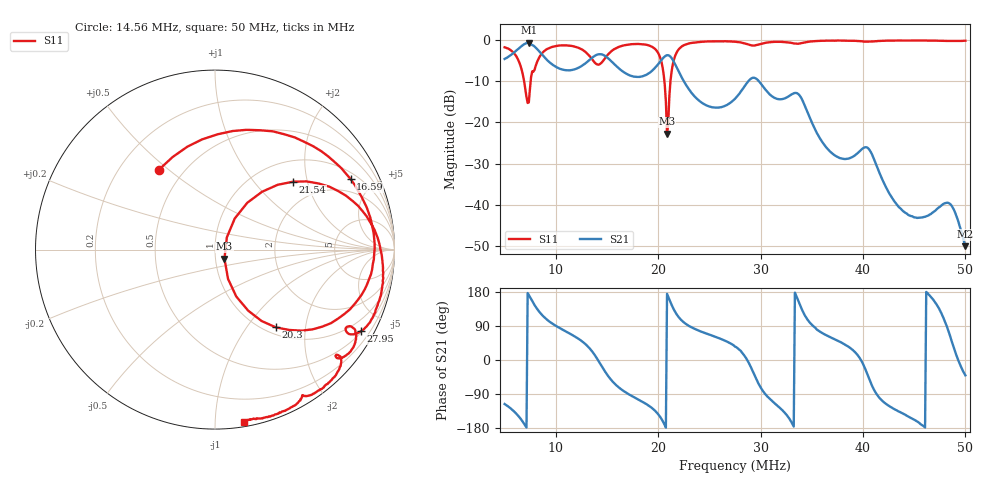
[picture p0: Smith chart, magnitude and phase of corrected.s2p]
! S11/S21 only; reverse parameters are placeholders. Device calibration unverified.
! [Saver CAL applied] C:\Users\aknya\MyProjects\rf-simulator\calibration2.cal | Ideal standards assumed | Input: NanoVNA F V2 profile | COM3 | 2026-09-08T11:12:02.9031546-04:00 | device calibration unverified
# HZ S RI R 50
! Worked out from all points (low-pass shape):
!   401 points, 5 MHz to 50 MHz, reference 50 ohm
!   highest |S21| = -0.69 dB at 7.362 MHz (marker M1); lowest = -50.0 dB at 50 MHz (marker M2)
!   |S21| within 3 dB of the highest: 5.62 MHz to 8.681 MHz (3.061 MHz wide, 42.8 % of centre); 13.96 MHz to 14.64 MHz (678.9 kHz wide, 4.75 % of centre)
!   lowest |S11| = -22.8 dB at 20.86 MHz (marker M3), VSWR 1.16, Z = 55.3 - j5.56 ohm
!   |S11| at or under -10 dB: 6.899 MHz to 7.548 MHz (648.9 kHz wide, 8.98 % of centre); 20.6 MHz to 21.2 MHz (598 kHz wide, 2.86 % of centre)
!   S12 and S22 are empty: the file has one direction only
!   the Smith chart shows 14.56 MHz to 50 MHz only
!   S11 on the Smith chart (normalised r, x): 14.56 MHz: 0.37, +0.46; 16.59 MHz: 1.28, +3.67; 20.3 MHz: 1.12, -1.39; 21.54 MHz: 1.44, +1.63; 27.95 MHz: 0.55, -3.77; 50 MHz: 0.03, -1.18
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5000000  0.7439 -0.3204  -0.2581 -0.5256  0 0  0 0
7362500  0.1738 -0.00606  -0.9139 0.1342  0 0  0 0
8262500  0.5399 0.1833  -0.4977 0.5613  0 0  0 0
9837500  0.8107 -0.1808  -0.0247 0.4837  0 0  0 0
1.25375e7  0.2293 -0.7284  0.3112 0.3684  0 0  0 0
1.3775e7  -0.4617 -0.2658  0.6152 0.1564  0 0  0 0
1.45625e7  -0.3128 0.4448  0.6215 -0.2255  0 0  0 0
1.65875e7  0.7553 0.3931  0.0619 -0.404  0 0  0 0
1.8725e7  0.8587 -0.1649  -0.1535 -0.3369  0 0  0 0
2.0075e7  0.4828 -0.4517  -0.4298 -0.2927  0 0  0 0
2.03e7  0.3387 -0.4332  -0.5096 -0.2416  0 0  0 0
2.08625e7  0.0526 -0.0501  -0.6469 0.0615  0 0  0 0
2.15375e7  0.4343 0.3782  -0.3641 0.3962  0 0  0 0
2.31125e7  0.906 0.066  0.00763 0.2407  0 0  0 0
2.75e7  0.8442 -0.4288  0.157 0.1112  0 0  0 0
2.795e7  0.8135 -0.4539  0.2002 0.0997  0 0  0 0
2.9975e7  0.7723 -0.438  0.0968 -0.2832  0 0  0 0
3.50375e7  0.695 -0.655  -0.00357 0.0972  0 0  0 0
4.055e7  0.4868 -0.8148  0.0331 -0.0345  0 0  0 0
4.2575e7  0.4356 -0.8717  -0.00723 -0.0116  0 0  0 0
4.8425e7  0.2063 -0.9445  0.00354 0.00978  0 0  0 0
5e7  0.1604 -0.9605  0.0024 -0.00204  0 0  0 0
